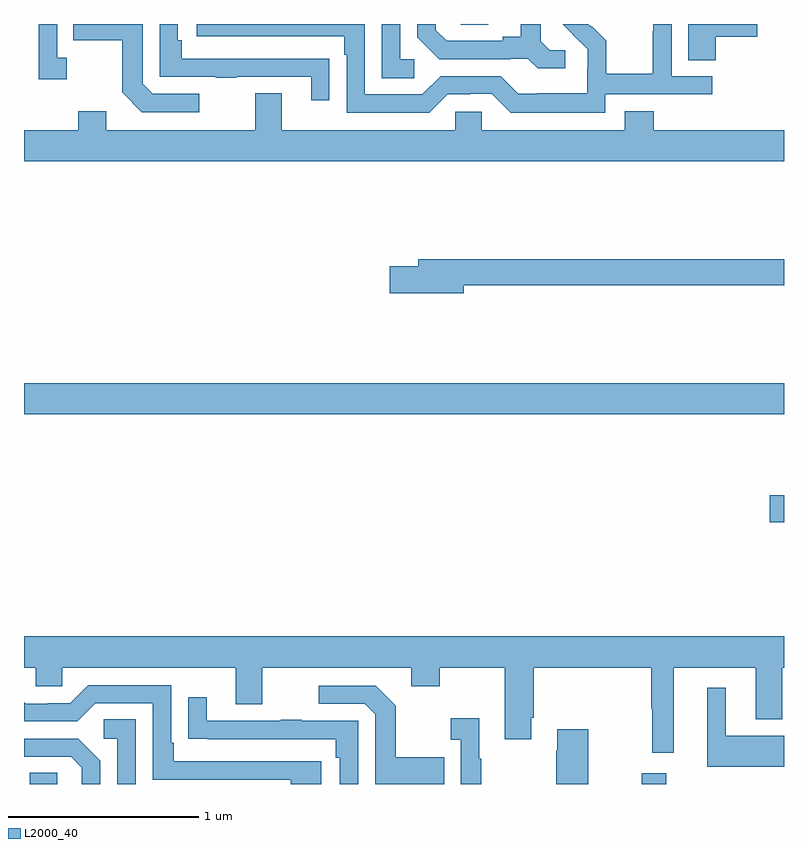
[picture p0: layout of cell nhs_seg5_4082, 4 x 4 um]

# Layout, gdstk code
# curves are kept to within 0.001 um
import gdstk
lib = gdstk.Library(unit=1e-6, precision=1e-09)
def R(c, l, rs):  # rectangles x0, y0, x1, y1
    for r in rs: c.add(gdstk.rectangle(r[:2], r[2:], *l))
def P(c, l, *ps):  # polygons
    for p in ps: c.add(gdstk.Polygon(p, *l))
L2000_40 = (2000, 40)

nhs_seg5_4082 = lib.new_cell('nhs_seg5_4082')
R(nhs_seg5_4082, L2000_40, [(351.029,870.799,351.174,870.857), (354.252,870.799,354.38,870.856), (354.924,872.177,355,872.319), (351,872.744,355,872.908), (353.298,874.795,353.443,874.799)])
P(nhs_seg5_4082, L2000_40, [(352.607,874.616),(352.505,874.616),(352.505,874.617),(351.83,874.617),(351.83,874.714),(351.81,874.714),(351.81,874.799),(351.714,874.799),(351.714,874.521),(352.009,874.521),(352.009,874.516),(352.121,874.516),(352.121,874.521),(352.511,874.521),(352.511,874.398),(352.607,874.398)],
  [(353.848,874.662),(353.766,874.662),(353.719,874.709),(353.719,874.799),(353.615,874.799),(353.615,874.733),(353.519,874.733),(353.519,874.71),(353.224,874.71),(353.167,874.767),(353.167,874.799),(353.07,874.799),(353.07,874.73),(353.186,874.614),(353.558,874.614),(353.558,874.617),(353.652,874.617),(353.704,874.565),(353.848,874.565)],
  [(354.641,874.733),(354.859,874.733),(354.859,874.799),(354.497,874.799),(354.497,874.609),(354.641,874.609)],
  [(354.06,874.428),(354.622,874.428),(354.622,874.524),(354.408,874.524),(354.408,874.799),(354.312,874.799),(354.312,874.76),(354.31,874.76),(354.31,874.537),(354.065,874.537),(354.065,874.711),(353.988,874.788),(353.985,874.785),(353.971,874.799),(353.835,874.799),(353.966,874.666),(353.966,874.569),(353.964,874.569),(353.964,874.435),(353.701,874.435),(353.701,874.431),(353.601,874.431),(353.508,874.524),(353.193,874.524),(353.097,874.428),(352.794,874.428),(352.794,874.799),(351.909,874.799),(351.909,874.734),(352.685,874.734),(352.685,874.637),(352.698,874.637),(352.698,874.332),(353.133,874.332),(353.229,874.428),(353.348,874.428),(353.348,874.431),(353.463,874.431),(353.563,874.331),(354.06,874.331)],
  [(351.922,874.431),(351.678,874.431),(351.624,874.485),(351.624,874.799),(351.259,874.799),(351.259,874.714),(351.516,874.714),(351.516,874.441),(351.621,874.335),(351.922,874.335)],
  [(351.226,874.622),(351.174,874.622),(351.174,874.799),(351.077,874.799),(351.077,874.509),(351.226,874.509)],
  [(353.053,874.614),(352.98,874.614),(352.98,874.799),(352.884,874.799),(352.884,874.513),(353.053,874.513)],
  [(355,874.24),(354.314,874.24),(354.314,874.339),(354.161,874.339),(354.161,874.24),(353.409,874.24),(353.409,874.338),(353.271,874.338),(353.271,874.24),(352.357,874.24),(352.357,874.435),(352.217,874.435),(352.217,874.24),(351.433,874.24),(351.433,874.339),(351.286,874.339),(351.286,874.24),(351,874.24),(351,874.076),(355,874.076)],
  [(353.314,873.424),(355,873.424),(355,873.56),(353.075,873.56),(353.075,873.524),(352.926,873.524),(352.926,873.382),(353.314,873.382)],
  [(354.421,871.412),(354.851,871.412),(354.851,871.139),(354.991,871.139),(354.991,871.412),(355,871.412),(355,871.576),(351,871.576),(351,871.412),(351.063,871.412),(351.063,871.314),(351.201,871.314),(351.201,871.412),(352.115,871.412),(352.115,871.218),(352.255,871.218),(352.255,871.412),(353.039,871.412),(353.039,871.313),(353.187,871.313),(353.187,871.412),(353.531,871.412),(353.531,871.035),(353.671,871.035),(353.671,871.147),(353.684,871.147),(353.684,871.412),(354.3,871.412),(354.3,871.196),(354.307,871.196),(354.307,870.963),(354.421,870.963)],
  [(352.564,870.918),(351.787,870.918),(351.787,871.015),(351.774,871.015),(351.774,871.32),(351.339,871.32),(351.243,871.224),(351.125,871.224),(351.125,871.221),(351.009,871.221),(351,871.23),(351,871.128),(351.279,871.128),(351.375,871.224),(351.678,871.224),(351.678,870.822),(352.403,870.822),(352.403,870.799),(352.564,870.799)],
  [(353.213,870.939),(352.957,870.939),(352.957,871.211),(352.851,871.317),(352.551,871.317),(352.551,871.221),(352.794,871.221),(352.848,871.167),(352.848,870.799),(353.213,870.799)],
  [(355,871.054),(354.694,871.054),(354.694,871.306),(354.596,871.306),(354.596,870.89),(355,870.89)],
  [(352.758,871.131),(352.463,871.131),(352.463,871.136),(352.351,871.136),(352.351,871.131),(351.961,871.131),(351.961,871.255),(351.865,871.255),(351.865,871.036),(351.967,871.036),(351.967,871.035),(352.642,871.035),(352.642,870.938),(352.662,870.938),(352.662,870.799),(352.758,870.799)],
  [(353.407,870.931),(353.395,870.931),(353.395,871.144),(353.247,871.144),(353.247,871.031),(353.298,871.031),(353.298,870.799),(353.407,870.799)],
  [(351.588,871.139),(351.42,871.139),(351.42,871.038),(351.492,871.038),(351.492,870.799),(351.588,870.799)],
  [(353.97,871.087),(353.807,871.087),(353.807,870.974),(353.8,870.974),(353.8,870.799),(353.97,870.799)],
  [(351.402,870.922),(351.286,871.038),(351,871.038),(351,870.942),(351.248,870.942),(351.305,870.885),(351.305,870.799),(351.402,870.799)])

lib.write_gds('nhs_seg5_4082.gds')
